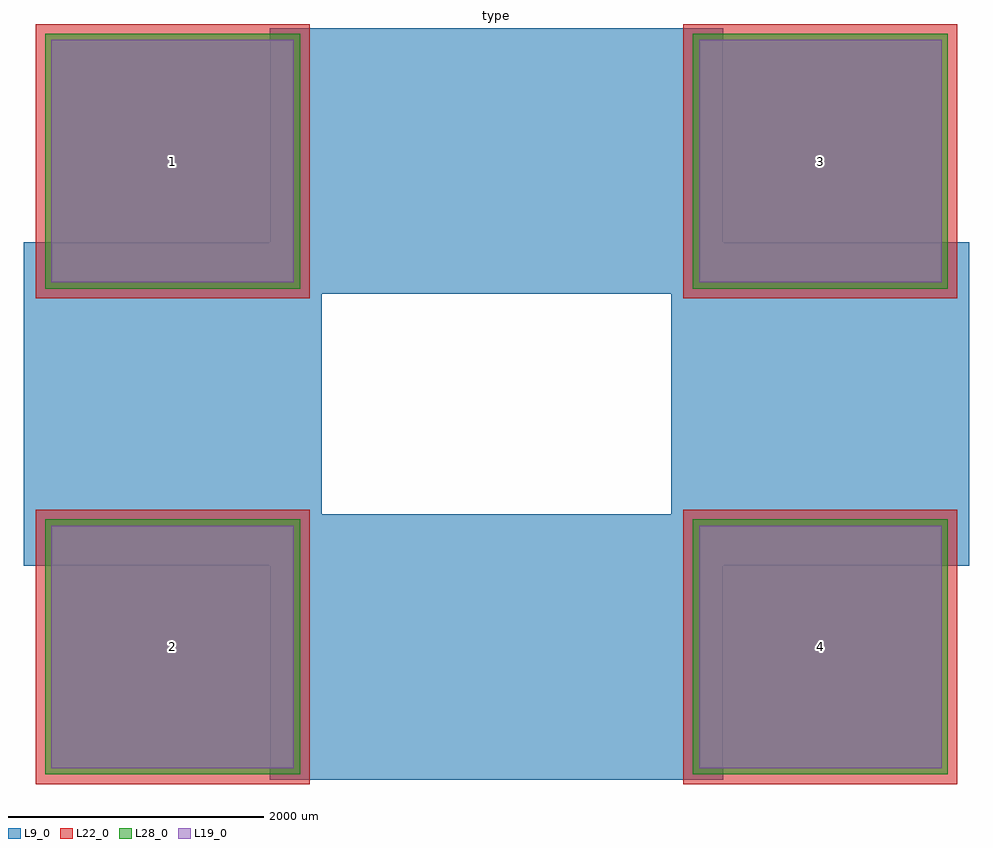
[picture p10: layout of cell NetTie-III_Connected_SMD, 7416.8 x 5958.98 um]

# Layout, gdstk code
import gdstk
lib = gdstk.Library(unit=1e-6, precision=1e-09)
def R(c, l, rs):  # rectangles x0, y0, x1, y1
    for r in rs: c.add(gdstk.rectangle(r[:2], r[2:], *l))
L9_0 = (9, 0)
L19_0 = (19, 0)
L22_0 = (22, 0)
L28_0 = (28, 0)

nettie_iii_connected_smd = lib.new_cell('NetTie-III_Connected_SMD')
R(nettie_iii_connected_smd, L19_0, [(-3489.49,-2854.49,-1590.51,-955.51), (1590.51,-2854.49,3489.49,-955.51), (-3489.49,955.51,-1590.51,2854.49), (1590.51,955.51,3489.49,2854.49)])
R(nettie_iii_connected_smd, L22_0, [(-3614.49,-2979.49,-1465.51,-830.51), (1465.51,-2979.49,3614.49,-830.51), (-3614.49,830.51,-1465.51,2979.49), (1465.51,830.51,3614.49,2979.49)])
R(nettie_iii_connected_smd, L28_0, [(-3539.49,-2904.49,-1540.51,-905.51), (1540.51,-2904.49,3539.49,-905.51), (-3539.49,905.51,-1540.51,2904.49), (1540.51,905.51,3539.49,2904.49)])
nettie_iii_connected_smd.add(gdstk.FlexPath([(-1778,1016),(1778,1016)], 304.8, ends="flush", simple_path=True, layer=9, datatype=0))  # L9_0
nettie_iii_connected_smd.add(gdstk.FlexPath([(-1778,1270),(1778,1270)], 304.8, ends="flush", simple_path=True, layer=9, datatype=0))  # L9_0
nettie_iii_connected_smd.add(gdstk.FlexPath([(-1778,1524),(1778,1524)], 304.8, ends="flush", simple_path=True, layer=9, datatype=0))  # L9_0
nettie_iii_connected_smd.add(gdstk.FlexPath([(-1778,1778),(1778,1778)], 304.8, ends="flush", simple_path=True, layer=9, datatype=0))  # L9_0
nettie_iii_connected_smd.add(gdstk.FlexPath([(-1778,2032),(1778,2032)], 304.8, ends="flush", simple_path=True, layer=9, datatype=0))  # L9_0
nettie_iii_connected_smd.add(gdstk.FlexPath([(-1778,2286),(1778,2286)], 304.8, ends="flush", simple_path=True, layer=9, datatype=0))  # L9_0
nettie_iii_connected_smd.add(gdstk.FlexPath([(-1778,2540),(1778,2540)], 304.8, ends="flush", simple_path=True, layer=9, datatype=0))  # L9_0
nettie_iii_connected_smd.add(gdstk.FlexPath([(-1778,2794),(1778,2794)], 304.8, ends="flush", simple_path=True, layer=9, datatype=0))  # L9_0
nettie_iii_connected_smd.add(gdstk.FlexPath([(-1524,-1016),(1778,-1016)], 304.8, ends="flush", simple_path=True, layer=9, datatype=0))  # L9_0
nettie_iii_connected_smd.add(gdstk.FlexPath([(-1778,-1016),(-1524,-1016)], 304.8, ends="flush", simple_path=True, layer=9, datatype=0))  # L9_0
nettie_iii_connected_smd.add(gdstk.FlexPath([(-1778,-1270),(1778,-1270)], 304.8, ends="flush", simple_path=True, layer=9, datatype=0))  # L9_0
nettie_iii_connected_smd.add(gdstk.FlexPath([(-1778,-1524),(1778,-1524)], 304.8, ends="flush", simple_path=True, layer=9, datatype=0))  # L9_0
nettie_iii_connected_smd.add(gdstk.FlexPath([(-1778,-1778),(1778,-1778)], 304.8, ends="flush", simple_path=True, layer=9, datatype=0))  # L9_0
nettie_iii_connected_smd.add(gdstk.FlexPath([(-1778,-2032),(1778,-2032)], 304.8, ends="flush", simple_path=True, layer=9, datatype=0))  # L9_0
nettie_iii_connected_smd.add(gdstk.FlexPath([(-1778,-2286),(1778,-2286)], 304.8, ends="flush", simple_path=True, layer=9, datatype=0))  # L9_0
nettie_iii_connected_smd.add(gdstk.FlexPath([(1778,-2540),(-1778,-2540)], 304.8, ends="flush", simple_path=True, layer=9, datatype=0))  # L9_0
nettie_iii_connected_smd.add(gdstk.FlexPath([(-1778,-2794),(1778,-2794)], 304.8, ends="flush", simple_path=True, layer=9, datatype=0))  # L9_0
nettie_iii_connected_smd.add(gdstk.FlexPath([(-3556,1016),(-3556,-1270)], 304.8, ends="flush", simple_path=True, layer=9, datatype=0))  # L9_0
nettie_iii_connected_smd.add(gdstk.FlexPath([(-3556,1016),(-3556,1270)], 304.8, ends="flush", simple_path=True, layer=9, datatype=0))  # L9_0
nettie_iii_connected_smd.add(gdstk.FlexPath([(-3302,1270),(-3302,-1270)], 304.8, ends="flush", simple_path=True, layer=9, datatype=0))  # L9_0
nettie_iii_connected_smd.add(gdstk.FlexPath([(-3048,1270),(-3048,-1270)], 304.8, ends="flush", simple_path=True, layer=9, datatype=0))  # L9_0
nettie_iii_connected_smd.add(gdstk.FlexPath([(-2794,1270),(-2794,-1270)], 304.8, ends="flush", simple_path=True, layer=9, datatype=0))  # L9_0
nettie_iii_connected_smd.add(gdstk.FlexPath([(-2540,1270),(-2540,-1270)], 304.8, ends="flush", simple_path=True, layer=9, datatype=0))  # L9_0
nettie_iii_connected_smd.add(gdstk.FlexPath([(-2286,1270),(-2286,-1270)], 304.8, ends="flush", simple_path=True, layer=9, datatype=0))  # L9_0
nettie_iii_connected_smd.add(gdstk.FlexPath([(-2032,-1270),(-2032,1270)], 304.8, ends="flush", simple_path=True, layer=9, datatype=0))  # L9_0
nettie_iii_connected_smd.add(gdstk.FlexPath([(-1778,1270),(-1778,-1270)], 304.8, ends="flush", simple_path=True, layer=9, datatype=0))  # L9_0
nettie_iii_connected_smd.add(gdstk.FlexPath([(-1524,-1270),(-1524,1270)], 304.8, ends="flush", simple_path=True, layer=9, datatype=0))  # L9_0
nettie_iii_connected_smd.add(gdstk.FlexPath([(3556,-1270),(3556,1270)], 304.8, ends="flush", simple_path=True, layer=9, datatype=0))  # L9_0
nettie_iii_connected_smd.add(gdstk.FlexPath([(3302,1270),(3302,-1270)], 304.8, ends="flush", simple_path=True, layer=9, datatype=0))  # L9_0
nettie_iii_connected_smd.add(gdstk.FlexPath([(3048,-1270),(3048,1270)], 304.8, ends="flush", simple_path=True, layer=9, datatype=0))  # L9_0
nettie_iii_connected_smd.add(gdstk.FlexPath([(2794,1270),(2794,-1270)], 304.8, ends="flush", simple_path=True, layer=9, datatype=0))  # L9_0
nettie_iii_connected_smd.add(gdstk.FlexPath([(2540,-1270),(2540,1270)], 304.8, ends="flush", simple_path=True, layer=9, datatype=0))  # L9_0
nettie_iii_connected_smd.add(gdstk.FlexPath([(2286,1270),(2286,-1270)], 304.8, ends="flush", simple_path=True, layer=9, datatype=0))  # L9_0
nettie_iii_connected_smd.add(gdstk.FlexPath([(2032,-1270),(2032,1270)], 304.8, ends="flush", simple_path=True, layer=9, datatype=0))  # L9_0
nettie_iii_connected_smd.add(gdstk.FlexPath([(1778,1270),(1778,-1270)], 304.8, ends="flush", simple_path=True, layer=9, datatype=0))  # L9_0
nettie_iii_connected_smd.add(gdstk.FlexPath([(1524,-1270),(1524,1270)], 304.8, ends="flush", simple_path=True, layer=9, datatype=0))  # L9_0
nettie_iii_connected_smd.add(gdstk.Label('4', (2540,-1905), layer=28, texttype=0))
nettie_iii_connected_smd.add(gdstk.Label('3', (2540,1905), layer=28, texttype=0))
nettie_iii_connected_smd.add(gdstk.Label('2', (-2540,-1905), layer=28, texttype=0))
nettie_iii_connected_smd.add(gdstk.Label('1', (-2540,1905), layer=28, texttype=0))
nettie_iii_connected_smd.add(gdstk.Label('type', (0,3048), layer=9, texttype=0))
nettie_iii_connected_smd.add(gdstk.Label('devicename', (0,-7620), layer=9, texttype=0))

lib.write_gds('NetTie-III_Connected_SMD.gds')
